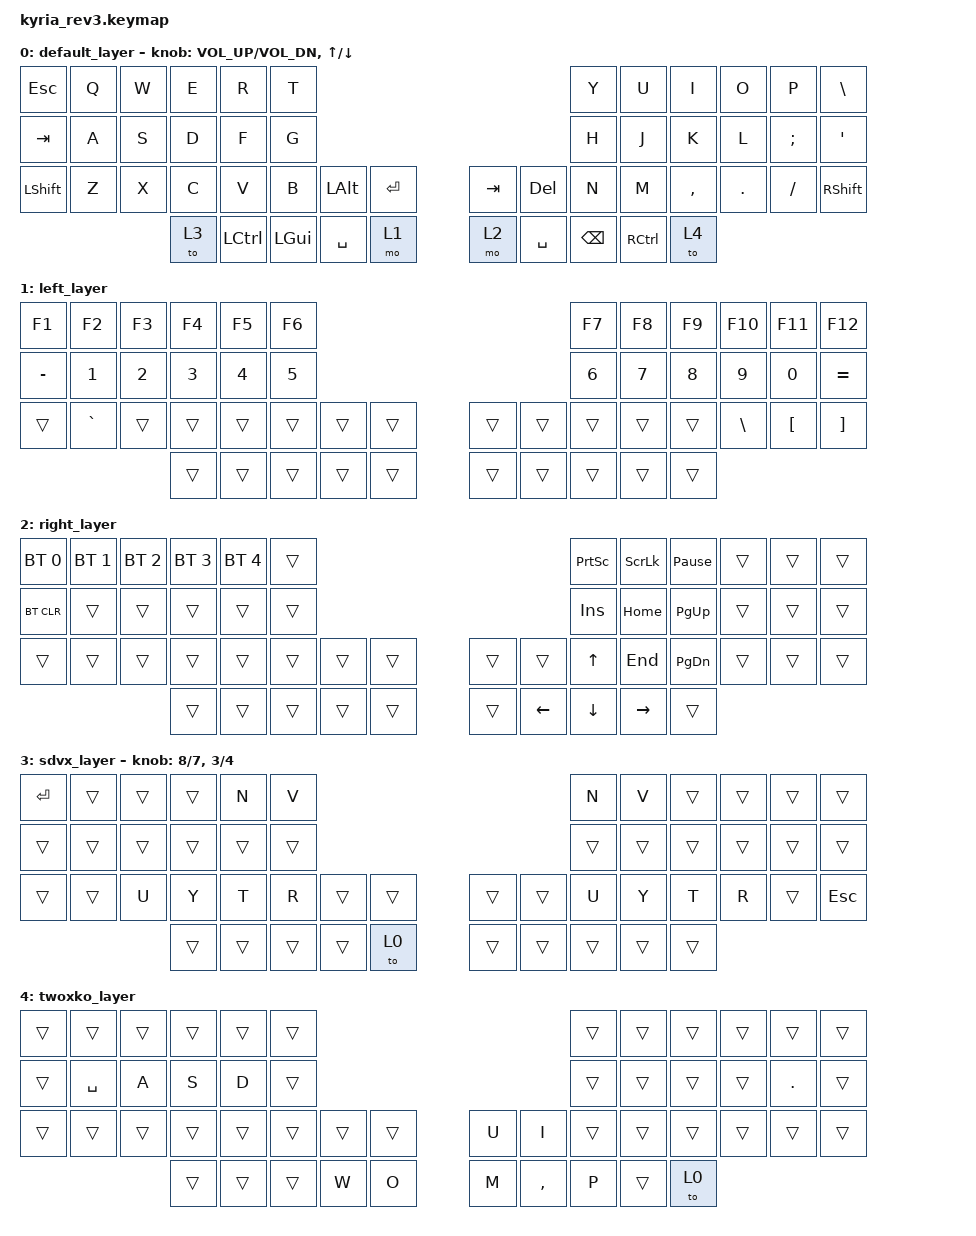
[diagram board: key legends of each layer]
/*
 * Copyright (c) 2023 The ZMK Contributors
 *
 * SPDX-License-Identifier: MIT
 */

#include <behaviors.dtsi>
#include <dt-bindings/zmk/bt.h>
#include <dt-bindings/zmk/keys.h>

/* Uncomment this block if using RGB
&led_strip {
    chain-length = <6>;
    // chain-length = <31>; // Uncomment if using both per-key and underglow LEDs
    // chain-length = <25>; // Uncomment if using only per-key LEDs.
};
 */

/ {
    keymap {
        compatible = "zmk,keymap";

        default_layer {
            // ---------------------------------------------------------------------------------------------------------------------------------
            // |  ESC  |  Q  |  W  |  E   |  R   |  T   |                                          |  Y   |  U    |  I    |  O   |   P   |   \  |
            // |  TAB  |  A  |  S  |  D   |  F   |  G   |                                          |  H   |  J    |  K    |  L   |   ;   |   '  |
            // | LSHIFT |  Z  |  X  |  C   |  V   |  B   | LALT |  RET |  | TAB | DEL|  N   |  M    |  ,    |  .   |   /   | RSHIFT |
            //                     | ENC  | LCTRL  | LGUI  |  SPACE  |   LEFT   |  |   RIGHT   |  SPACE  | BSPC  | RCTRL | ENC |
            bindings = <
            &kp ESC   &kp Q &kp W &kp E &kp R &kp T                                                &kp Y &kp U  &kp I     &kp O   &kp P    &kp BSLH
            &kp TAB   &kp A &kp S &kp D &kp F &kp G                                                &kp H &kp J  &kp K     &kp L   &kp SEMI &kp SQT
            &kp LSHFT &kp Z &kp X &kp C &kp V &kp B &kp LALT &kp RET       &kp TAB &kp DEL &kp N &kp M  &kp COMMA &kp DOT &kp FSLH &kp RSHFT
            &to 3  &kp LCTRL  &kp LGUI  &kp SPACE  &mo 1  &mo 2  &kp SPACE  &kp BSPC  &kp RCTRL  &to 4

            >;

            sensor-bindings = <&inc_dec_kp C_VOL_UP C_VOL_DN &inc_dec_kp UP DOWN>;

        };

        left_layer {
            bindings = <
            &kp F1      &kp F2      &kp F3    &kp F4  &kp F5  &kp F6                                        &kp F7   &kp F8   &kp F9    &kp F10    &kp F11     &kp F12
            &kp MINUS   &kp N1      &kp N2    &kp N3  &kp N4  &kp N5                                        &kp N6   &kp N7   &kp N8    &kp N9     &kp N0      &kp EQUAL
            &trans      &kp GRAVE   &trans    &trans  &trans  &trans  &trans  &trans      &trans   &trans   &trans    &trans  &trans    &kp BSLH   &kp LBKT    &kp RBKT
                                              &trans  &trans  &trans  &trans  &trans      &trans   &trans   &trans    &trans  &trans
            >;

        }; 
        
        right_layer {
            bindings = <
            &bt BT_SEL 0    &bt BT_SEL 1    &bt BT_SEL 2    &bt BT_SEL 3    &bt BT_SEL 4    &trans                                          &kp PSCRN   &kp SLCK    &kp PAUSE_BREAK &trans   &trans  &trans
            &bt BT_CLR      &trans          &trans          &trans          &trans          &trans                                          &kp INS     &kp HOME    &kp PG_UP       &trans   &trans  &trans
            &trans          &trans          &trans          &trans          &trans          &trans  &trans  &trans      &trans  &trans      &kp UP      &kp END     &kp PG_DN       &trans   &trans  &trans
                                                            &trans          &trans          &trans  &trans  &trans      &trans  &kp LEFT    &kp DOWN    &kp RIGHT   &trans
            >;


        }; 
        
        sdvx_layer {
            bindings = <
            &kp RET &trans  &trans  &trans  &kp N   &kp V                                       &kp N   &kp V   &trans  &trans  &trans  &trans
            &trans  &trans  &trans  &trans  &trans  &trans                                      &trans  &trans  &trans  &trans  &trans  &trans
            &trans  &trans  &kp U   &kp Y   &kp T   &kp R   &trans  &trans      &trans  &trans  &kp U   &kp Y   &kp T   &kp R   &trans  &kp ESC
                                    &trans  &trans  &trans  &trans  &to 0       &trans  &trans  &trans  &trans  &trans
            >;  

            sensor-bindings = <&inc_dec_kp N8 N7 &inc_dec_kp N3 N4>;

        }; 
        
        twoxko_layer {
            bindings = <
            &trans  &trans      &trans  &trans  &trans  &trans                                          &trans  &trans  &trans &trans    &trans   &trans
            &trans  &kp SPACE   &kp A   &kp S  &kp D    &trans                                          &trans  &trans  &trans &trans    &kp DOT  &trans
            &trans  &trans      &trans  &trans  &trans  &trans  &trans  &trans        &kp U   &kp I     &trans  &trans  &trans &trans    &trans   &trans
                                        &trans  &trans  &trans  &kp W   &kp O         &kp M   &kp COMMA &kp P   &trans  &to 0
            >; 


        }; 
    };
};
